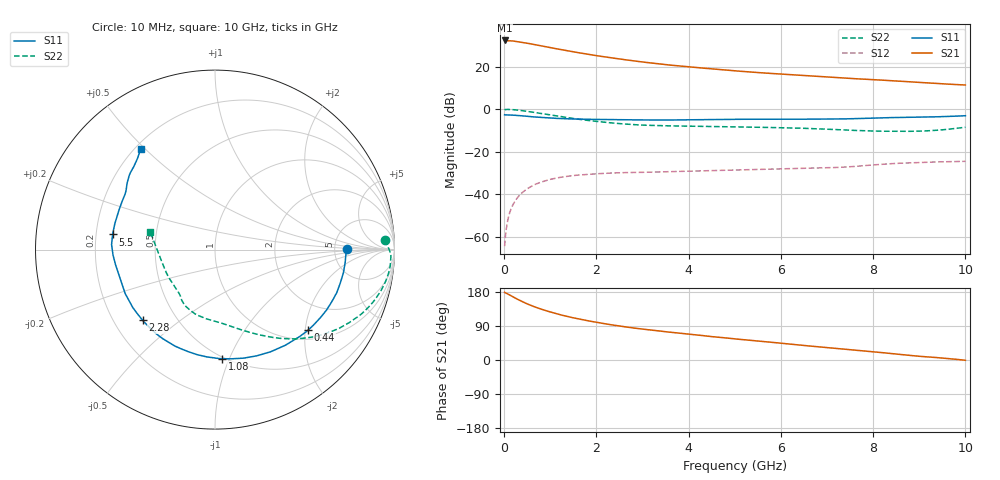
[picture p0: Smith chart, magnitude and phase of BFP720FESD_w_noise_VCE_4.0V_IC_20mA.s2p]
! Infineon Technologies  Discrete & RF Semiconductors
! BFP720FESD
! VCE =  4.0 V,  IC =  20 mA
! Common Emitter S-Parameters:  Jan 2016
# GHz  S  MA  R  50
!  f  S11  S21  S12  S22
! GHz  MAG  ANG  MAG  ANG  MAG  ANG  MAG  ANG
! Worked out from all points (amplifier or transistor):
!   233 points, 10 MHz to 10 GHz, reference 50 ohm
!   highest |S21| = 32.2 dB at 10 MHz (marker M1)
!   |S21| within 3 dB of that: start of sweep to 913.5 MHz
!   unconditionally stable (mu >= 1): start of sweep to 16.55 MHz; 5.68 GHz to end of sweep
!   at 200 MHz: K = 0.16, MSG = 38.3 dB, |S12| = -44.6 dB
!   at 1.74 GHz: K = 0.44, MSG = 28.4 dB, |S12| = -30.8 dB
!   at 10 GHz: K = 1.15, MAG = 15.6 dB, |S12| = -24.6 dB
!   lowest NFmin = 0.95 dB at 450 MHz
!   S11 on the Smith chart (normalised r, x): 10 MHz: 6.54, +0.07; 440 MHz: 1.23, -2.07; 1.08 GHz: 0.49, -0.94; 2.28 GHz: 0.32, -0.37; 5.5 GHz: 0.27, +0.07; 10 GHz: 0.22, +0.49
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0.01  0.7347 0.2  40.96 178.8  0.0006 36.7  0.9496 3.3
0.02  0.7302 -1.6  40.69 177.6  0.0008 60.4  0.9723 -0.2
0.105  0.727 -10.3  40.31 172.7  0.0032 76.7  0.9808 -5.3
0.2  0.7196 -19.4  39.67 166.2  0.0059 76.0  0.9669 -10.6
0.34  0.6999 -32.2  37.84 157.1  0.0096 71.6  0.9326 -17.5
0.44  0.6858 -40.8  36.26 151.4  0.012 68.3  0.903 -22.1
0.6  0.6615 -53.7  33.69 143.0  0.0155 63.1  0.8518 -28.5
0.7  0.6482 -61.4  32.15 138.5  0.0175 60.0  0.8198 -32.3
0.9  0.6256 -75.1  29.19 130.4  0.0208 54.6  0.7578 -38.9
1.08  0.609 -86.3  26.8 124.0  0.0233 50.2  0.7045 -44.3
1.4  0.5891 -103.6  23.12 113.9  0.0265 43.9  0.6213 -52.9
1.68  0.5783 -115.8  20.52 106.6  0.0286 39.8  0.5641 -59.1
1.98  0.5705 -126.5  18.16 99.9  0.0301 36.4  0.5162 -65.0
2.28  0.5633 -135.8  16.25 93.8  0.0312 33.8  0.4784 -70.5
2.8  0.557 -149.7  13.59 84.5  0.0324 30.6  0.4312 -79.5
3.4  0.5526 -160.8  11.38 76.1  0.0333 29.9  0.4072 -86.4
4.4  0.5663 -175.5  9.001 63.1  0.0356 29.8  0.3897 -96.2
5.1  0.5765 176.1  7.769 54.6  0.0371 30.1  0.3799 -103.5
5.5  0.5768 171.6  7.202 50.0  0.0381 30.3  0.375 -107.3
6.8  0.5804 154.9  5.861 35.0  0.041 32.2  0.3437 -121.4
8.4  0.6305 139.4  4.643 16.9  0.0521 34.6  0.301 -147.9
10  0.6971 126.4  3.672 -0.7  0.0591 27.4  0.3738 164.6
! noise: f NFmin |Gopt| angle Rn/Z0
0.45  0.95  0.04  -26  0.11
2.4  0.98  0.01  142  0.12
5.5  1.11  0.17  145  0.11
10  1.56  0.29  -128  0.15
